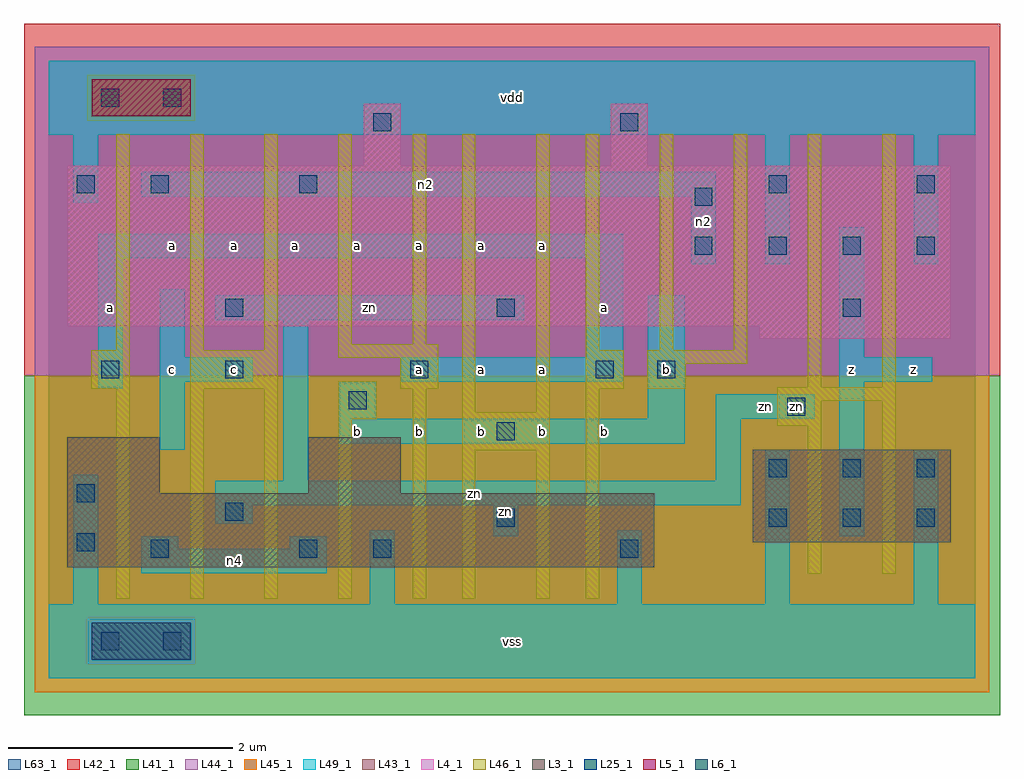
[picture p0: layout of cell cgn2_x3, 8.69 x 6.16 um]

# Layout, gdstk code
import gdstk
lib = gdstk.Library(unit=1e-6, precision=1e-09)
def R(c, l, rs):  # rectangles x0, y0, x1, y1
    for r in rs: c.add(gdstk.rectangle(r[:2], r[2:], *l))
def A(c, l, x, y, w, h, nx, ny, dx, dy):  # array of equal rectangles
    R(c, l, [(x+i*dx, y+j*dy, x+i*dx+w, y+j*dy+h) for i in range(nx) for j in range(ny)])
L3_1 = (3, 1)
L4_1 = (4, 1)
L5_1 = (5, 1)
L6_1 = (6, 1)
L25_1 = (25, 1)
L41_1 = (41, 1)
L42_1 = (42, 1)
L43_1 = (43, 1)
L44_1 = (44, 1)
L45_1 = (45, 1)
L46_1 = (46, 1)
L49_1 = (49, 1)
L63_1 = (63, 1)

cgn2_x3 = lib.new_cell('cgn2_x3')
R(cgn2_x3, L3_1, [(0.165,0.99,5.39,1.65), (6.27,1.21,8.03,2.035), (0.165,1.65,0.99,2.145), (2.31,1.65,3.135,2.145)])
R(cgn2_x3, L4_1, [(6.325,3.025,8.03,3.135), (0.165,3.135,8.03,4.565), (2.805,4.565,3.135,5.115), (5.005,4.565,5.335,5.115)])
R(cgn2_x3, L5_1, [(0.385,5.005,1.265,5.335)])
R(cgn2_x3, L6_1, [(0.385,0.165,1.265,0.495)])
A(cgn2_x3, L25_1, 0.47, 0.25, 0.16, 0.16, 1, 3, 0, 2.42)
A(cgn2_x3, L25_1, 6.41, 1.35, 0.16, 0.16, 3, 2, 0.66, 0.44)
A(cgn2_x3, L25_1, 1.57, 2.67, 0.16, 0.16, 3, 1, 1.65, 0)
A(cgn2_x3, L25_1, 5.75, 3.77, 0.16, 0.16, 4, 1, 0.66, 0)
R(cgn2_x3, L25_1, [(1.02,0.25,1.18,0.41), (0.91,1.075,1.07,1.235), (2.23,1.075,2.39,1.235), (2.89,1.075,3.05,1.235), (5.09,1.075,5.25,1.235), (0.25,1.13,0.41,1.29), (3.99,1.35,4.15,1.51), (1.57,1.405,1.73,1.565), (0.25,1.57,0.41,1.73), (3.99,2.12,4.15,2.28), (6.575,2.34,6.735,2.5), (2.67,2.395,2.83,2.555), (5.42,2.67,5.58,2.83), (1.57,3.22,1.73,3.38), (3.99,3.22,4.15,3.38), (7.07,3.22,7.23,3.38), (5.75,4.21,5.91,4.37), (0.25,4.32,0.41,4.48), (0.91,4.32,1.07,4.48), (2.23,4.32,2.39,4.48), (6.41,4.32,6.57,4.48), (7.73,4.32,7.89,4.48), (2.89,4.87,3.05,5.03), (5.09,4.87,5.25,5.03), (1.02,5.09,1.18,5.25)])
R(cgn2_x3, L41_1, [(-0.22,-0.33,8.47,2.695)])
R(cgn2_x3, L42_1, [(-0.22,2.695,8.47,5.83)])
R(cgn2_x3, L43_1, [(0.385,0.165,1.265,0.495), (0.165,0.99,5.39,1.65), (6.27,1.21,8.03,2.035), (0.165,1.65,0.99,2.145), (2.31,1.65,3.135,2.145), (6.325,3.025,8.03,3.135), (0.165,3.135,8.03,4.565), (2.805,4.565,3.135,5.115), (5.005,4.565,5.335,5.115), (0.385,5.005,1.265,5.335)])
R(cgn2_x3, L44_1, [(0.345,0.125,1.305,0.535), (-0.125,2.695,8.375,4.965), (-0.125,4.965,0.345,5.375), (1.305,4.965,8.375,5.375), (-0.125,5.375,8.375,5.625)])
R(cgn2_x3, L45_1, [(-0.125,-0.125,8.375,0.125), (-0.125,0.125,0.345,0.535), (1.305,0.125,8.375,0.535), (-0.125,0.535,8.375,2.695), (0.345,4.965,1.305,5.375)])
A(cgn2_x3, L46_1, 0.6, 0.71, 0.12, 1.87, 3, 1, 0.66, 0)
A(cgn2_x3, L46_1, 0.6, 2.92, 0.12, 1.925, 3, 1, 0.66, 0)
A(cgn2_x3, L46_1, 4.78, 2.92, 0.12, 1.925, 3, 1, 0.66, 0)
R(cgn2_x3, L46_1, [(2.58,0.71,2.7,2.305), (3.24,0.71,3.36,2.58), (3.68,0.71,3.8,2.03), (4.34,0.71,4.46,2.03), (4.78,0.71,4.9,2.58), (6.76,0.93,6.88,2.25), (7.42,0.93,7.54,2.47), (3.68,2.03,4.46,2.37), (6.485,2.25,6.88,2.47), (2.58,2.305,2.92,2.645), (3.68,2.37,3.8,4.845), (4.34,2.37,4.46,4.845), (6.485,2.47,7.54,2.59), (0.38,2.58,0.72,2.92), (1.26,2.58,2.04,2.92), (3.13,2.58,3.47,2.855), (4.78,2.58,5.12,2.92), (5.33,2.58,5.67,2.8), (6.76,2.59,6.88,4.845), (7.42,2.59,7.54,4.845), (5.33,2.8,6.22,2.92), (2.58,2.855,3.47,2.975), (2.58,2.975,2.7,4.845), (3.24,2.975,3.36,4.845)])
R(cgn2_x3, L49_1, [(0,0,8.25,0.66), (0.22,0.66,0.44,1.815), (2.86,0.66,3.08,1.32), (5.06,0.66,5.28,1.32), (6.38,0.66,6.6,2.035), (7.7,0.66,7.92,2.035), (0.825,0.935,2.475,1.155), (0.825,1.155,1.155,1.265), (2.145,1.155,2.475,1.265), (3.96,1.265,4.18,1.54), (7.04,1.265,7.26,2.64), (1.485,1.375,1.815,1.54), (1.485,1.54,6.16,1.76), (2.09,1.76,2.31,3.19), (5.94,1.76,6.16,2.31), (0.99,2.035,1.21,2.64), (2.585,2.09,5.665,2.31), (2.585,2.31,2.915,2.64), (5.335,2.31,5.665,3.41), (5.94,2.31,6.82,2.53), (0.44,2.585,0.66,3.74), (0.99,2.64,1.815,2.86), (3.135,2.64,5.115,2.86), (7.04,2.64,7.865,2.86), (0.99,2.86,1.21,3.465), (4.785,2.86,5.115,3.74), (7.04,2.86,7.26,4.015), (1.485,3.19,4.235,3.41), (5.72,3.685,5.94,4.29), (6.38,3.685,6.6,4.84), (7.7,3.685,7.92,4.84), (0.44,3.74,5.115,3.96), (0.22,4.235,0.44,4.84), (0.825,4.29,5.94,4.51), (0,4.84,8.25,5.5)])
R(cgn2_x3, L63_1, [(0,0,8.25,5.5)])
cgn2_x3.add(gdstk.Label('zn', (6.655,2.42), layer=49, texttype=1))
cgn2_x3.add(gdstk.Label('c', (1.1,2.75), layer=49, texttype=1))
cgn2_x3.add(gdstk.Label('c', (1.1,2.75), layer=49, texttype=1))
cgn2_x3.add(gdstk.Label('a', (0.55,3.3), layer=49, texttype=1))
cgn2_x3.add(gdstk.Label('a', (0.55,3.3), layer=49, texttype=1))
cgn2_x3.add(gdstk.Label('a', (1.1,3.85), layer=49, texttype=1))
cgn2_x3.add(gdstk.Label('a', (1.1,3.85), layer=49, texttype=1))
cgn2_x3.add(gdstk.Label('n4', (1.65,1.045), layer=49, texttype=1))
cgn2_x3.add(gdstk.Label('b', (2.75,2.2), layer=49, texttype=1))
cgn2_x3.add(gdstk.Label('b', (2.75,2.2), layer=49, texttype=1))
cgn2_x3.add(gdstk.Label('c', (1.65,2.75), layer=49, texttype=1))
cgn2_x3.add(gdstk.Label('c', (1.65,2.75), layer=49, texttype=1))
cgn2_x3.add(gdstk.Label('a', (1.65,3.85), layer=49, texttype=1))
cgn2_x3.add(gdstk.Label('a', (1.65,3.85), layer=49, texttype=1))
cgn2_x3.add(gdstk.Label('a', (2.75,3.85), layer=49, texttype=1))
cgn2_x3.add(gdstk.Label('a', (2.2,3.85), layer=49, texttype=1))
cgn2_x3.add(gdstk.Label('a', (2.75,3.85), layer=49, texttype=1))
cgn2_x3.add(gdstk.Label('a', (2.2,3.85), layer=49, texttype=1))
cgn2_x3.add(gdstk.Label('vss', (4.125,0.33), layer=49, texttype=1))
cgn2_x3.add(gdstk.Label('vss', (4.125,0.33), layer=49, texttype=1))
cgn2_x3.add(gdstk.Label('zn', (4.07,1.485), layer=49, texttype=1))
cgn2_x3.add(gdstk.Label('b', (4.4,2.2), layer=49, texttype=1))
cgn2_x3.add(gdstk.Label('b', (3.85,2.2), layer=49, texttype=1))
cgn2_x3.add(gdstk.Label('b', (3.85,2.2), layer=49, texttype=1))
cgn2_x3.add(gdstk.Label('b', (4.4,2.2), layer=49, texttype=1))
cgn2_x3.add(gdstk.Label('b', (3.3,2.2), layer=49, texttype=1))
cgn2_x3.add(gdstk.Label('b', (3.3,2.2), layer=49, texttype=1))
cgn2_x3.add(gdstk.Label('a', (3.3,2.75), layer=49, texttype=1))
cgn2_x3.add(gdstk.Label('a', (3.3,2.75), layer=49, texttype=1))
cgn2_x3.add(gdstk.Label('a', (4.4,2.75), layer=49, texttype=1))
cgn2_x3.add(gdstk.Label('a', (3.85,2.75), layer=49, texttype=1))
cgn2_x3.add(gdstk.Label('a', (4.4,2.75), layer=49, texttype=1))
cgn2_x3.add(gdstk.Label('a', (3.85,2.75), layer=49, texttype=1))
cgn2_x3.add(gdstk.Label('zn', (2.86,3.3), layer=49, texttype=1))
cgn2_x3.add(gdstk.Label('a', (3.3,3.85), layer=49, texttype=1))
cgn2_x3.add(gdstk.Label('a', (3.3,3.85), layer=49, texttype=1))
cgn2_x3.add(gdstk.Label('a', (4.4,3.85), layer=49, texttype=1))
cgn2_x3.add(gdstk.Label('a', (3.85,3.85), layer=49, texttype=1))
cgn2_x3.add(gdstk.Label('a', (4.4,3.85), layer=49, texttype=1))
cgn2_x3.add(gdstk.Label('a', (3.85,3.85), layer=49, texttype=1))
cgn2_x3.add(gdstk.Label('vdd', (4.125,5.17), layer=49, texttype=1))
cgn2_x3.add(gdstk.Label('vdd', (4.125,5.17), layer=49, texttype=1))
cgn2_x3.add(gdstk.Label('zn', (3.795,1.65), layer=49, texttype=1))
cgn2_x3.add(gdstk.Label('b', (4.95,2.2), layer=49, texttype=1))
cgn2_x3.add(gdstk.Label('b', (4.95,2.2), layer=49, texttype=1))
cgn2_x3.add(gdstk.Label('b', (5.5,2.75), layer=49, texttype=1))
cgn2_x3.add(gdstk.Label('b', (5.5,2.75), layer=49, texttype=1))
cgn2_x3.add(gdstk.Label('a', (4.95,3.3), layer=49, texttype=1))
cgn2_x3.add(gdstk.Label('a', (4.95,3.3), layer=49, texttype=1))
cgn2_x3.add(gdstk.Label('n2', (5.83,4.07), layer=49, texttype=1))
cgn2_x3.add(gdstk.Label('n2', (3.355,4.4), layer=49, texttype=1))
cgn2_x3.add(gdstk.Label('zn', (6.38,2.42), layer=49, texttype=1))
cgn2_x3.add(gdstk.Label('z', (7.7,2.75), layer=49, texttype=1))
cgn2_x3.add(gdstk.Label('z', (7.15,2.75), layer=49, texttype=1))
cgn2_x3.add(gdstk.Label('z', (7.15,2.75), layer=49, texttype=1))
cgn2_x3.add(gdstk.Label('z', (7.7,2.75), layer=49, texttype=1))

lib.write_gds('cgn2_x3.gds')
